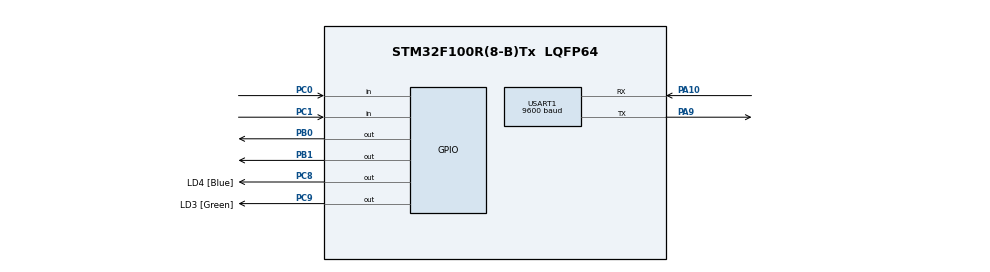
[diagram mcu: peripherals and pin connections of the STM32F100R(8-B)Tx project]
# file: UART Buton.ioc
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Mcu.Family=STM32F1
Mcu.Name=STM32F100R(8-B)Tx
Mcu.Package=LQFP64
NVIC.PriorityGroup=NVIC_PRIORITYGROUP_4
PA0-WKUP.Mode=SYS_WakeUp0
PA0-WKUP.Signal=SYS_WKUP
PA10.Mode=Asynchronous
PA10.Signal=USART1_RX
PA13.GPIO_Label=TMS_SWDIO
PA13.Mode=Serial_Wire
PA13.Signal=SYS_JTMS-SWDIO
PA14.GPIO_Label=TCK_SWCLK
PA14.Mode=Serial_Wire
PA14.Signal=SYS_JTCK-SWCLK
PA9.Mode=Asynchronous
PA9.Signal=USART1_TX
PB0.Signal=GPIO_Output
PB1.Signal=GPIO_Output
PC0.GPIO_PuPd=GPIO_PULLDOWN
PC0.Signal=GPIO_Input
PC1.GPIO_PuPd=GPIO_PULLDOWN
PC1.Signal=GPIO_Input
PC14-OSC32_IN.Mode=LSE-External-Oscillator
PC14-OSC32_IN.Signal=RCC_OSC32_IN
PC15-OSC32_OUT.Mode=LSE-External-Oscillator
PC15-OSC32_OUT.Signal=RCC_OSC32_OUT
PC8.GPIO_Label=LD4 [Blue]
PC8.Signal=GPIO_Output
PC9.GPIO_Label=LD3 [Green]
PC9.Signal=GPIO_Output
PD0-OSC_IN.Mode=HSE-External-Oscillator
PD0-OSC_IN.Signal=RCC_OSC_IN
PD1-OSC_OUT.Mode=HSE-External-Oscillator
PD1-OSC_OUT.Signal=RCC_OSC_OUT
ProjectManager.HeapSize=0x200
ProjectManager.StackSize=0x400
ProjectManager.TargetToolchain=MDK-ARM V5.27
RCC.APB1Freq_Value=8000000
RCC.APB2Freq_Value=8000000
USART1.BaudRate=9600
USART1.VirtualMode=VM_ASYNC
board=STM32VLDISCOVERY

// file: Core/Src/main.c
/* USER CODE BEGIN Header */
/**
  ******************************************************************************
  * @file           : main.c
  * @brief          : Main program body
  ******************************************************************************
  * @attention
  *
  * Copyright (c) 2022 STMicroelectronics.
  * All rights reserved.
  *
  * This software is licensed under terms that can be found in the LICENSE file
  * in the root directory of this software component.
  * If no LICENSE file comes with this software, it is provided AS-IS.
  *
  ******************************************************************************
  */
/* USER CODE END Header */
#include "main.h"

/* USER CODE BEGIN Includes */
#include <stdio.h>
/* USER CODE END Includes */

UART_HandleTypeDef huart1;

/* USER CODE BEGIN PV */
uint16_t ileriButonDurum=0;
uint16_t geriButonDurum=0;
/* USER CODE END PV */

void SystemClock_Config(void);
static void MX_GPIO_Init(void);
static void MX_USART1_UART_Init(void);

int main(void)
{

  /* MCU Configuration--------------------------------------------------------*/

  /* Reset of all peripherals, Initializes the Flash interface and the Systick. */
  HAL_Init();

  /* Configure the system clock */
  SystemClock_Config();

  /* Initialize all configured peripherals */
  MX_GPIO_Init();
  MX_USART1_UART_Init();
  /* USER CODE BEGIN 2 */
	char sendData[2];
	int i=1;
	HAL_GPIO_WritePin(GPIOB,GPIO_PIN_0,GPIO_PIN_SET);
	HAL_GPIO_WritePin(GPIOB,GPIO_PIN_1,GPIO_PIN_SET);
  /* USER CODE END 2 */

  /* Infinite loop */
  while (1)
  {

    /* USER CODE BEGIN 3 */
		ileriButonDurum=HAL_GPIO_ReadPin(GPIOC,GPIO_PIN_0);
		geriButonDurum=HAL_GPIO_ReadPin(GPIOC,GPIO_PIN_1);

		uint16_t len=sprintf(sendData,"%d",i);

		if(HAL_UART_Transmit(&huart1,(uint8_t*)sendData,len,10)!=HAL_OK){
			Error_Handler();
		}
		i++;
		HAL_GPIO_WritePin(GPIOB,GPIO_PIN_0,GPIO_PIN_RESET);
		HAL_GPIO_WritePin(GPIOB,GPIO_PIN_1,GPIO_PIN_SET);

		if(geriButonDurum){
			while(!ileriButonDurum){
				uint16_t len=sprintf(sendData,"%d",i);

				if(HAL_UART_Transmit(&huart1,(uint8_t*)sendData,len,10)!=HAL_OK){
					Error_Handler();
				}
				i--;
				HAL_GPIO_WritePin(GPIOB,GPIO_PIN_0,GPIO_PIN_SET);
				HAL_GPIO_WritePin(GPIOB,GPIO_PIN_1,GPIO_PIN_RESET);
				ileriButonDurum=HAL_GPIO_ReadPin(GPIOC,GPIO_PIN_0);
				HAL_Delay(300);
			}
		}
		HAL_Delay(300);
  }
  /* USER CODE END 3 */
}

void SystemClock_Config(void)
{
  RCC_OscInitTypeDef RCC_OscInitStruct = {0};
  RCC_ClkInitTypeDef RCC_ClkInitStruct = {0};

  /** Initializes the RCC Oscillators according to the specified parameters
  * in the RCC_OscInitTypeDef structure.
  */
  RCC_OscInitStruct.OscillatorType = RCC_OSCILLATORTYPE_HSI;
  RCC_OscInitStruct.HSIState = RCC_HSI_ON;
  RCC_OscInitStruct.HSICalibrationValue = RCC_HSICALIBRATION_DEFAULT;
  RCC_OscInitStruct.PLL.PLLState = RCC_PLL_NONE;
  if (HAL_RCC_OscConfig(&RCC_OscInitStruct) != HAL_OK)
  {
    Error_Handler();
  }
  /** Initializes the CPU, AHB and APB buses clocks
  */
  RCC_ClkInitStruct.ClockType = RCC_CLOCKTYPE_HCLK|RCC_CLOCKTYPE_SYSCLK
                              |RCC_CLOCKTYPE_PCLK1|RCC_CLOCKTYPE_PCLK2;
  RCC_ClkInitStruct.SYSCLKSource = RCC_SYSCLKSOURCE_HSI;
  RCC_ClkInitStruct.AHBCLKDivider = RCC_SYSCLK_DIV1;
  RCC_ClkInitStruct.APB1CLKDivider = RCC_HCLK_DIV1;
  RCC_ClkInitStruct.APB2CLKDivider = RCC_HCLK_DIV1;

  if (HAL_RCC_ClockConfig(&RCC_ClkInitStruct, FLASH_LATENCY_0) != HAL_OK)
  {
    Error_Handler();
  }
}

static void MX_USART1_UART_Init(void)
{

  huart1.Instance = USART1;
  huart1.Init.BaudRate = 9600;
  huart1.Init.WordLength = UART_WORDLENGTH_8B;
  huart1.Init.StopBits = UART_STOPBITS_1;
  huart1.Init.Parity = UART_PARITY_NONE;
  huart1.Init.Mode = UART_MODE_TX_RX;
  huart1.Init.HwFlowCtl = UART_HWCONTROL_NONE;
  huart1.Init.OverSampling = UART_OVERSAMPLING_16;
  if (HAL_UART_Init(&huart1) != HAL_OK)
  {
    Error_Handler();
  }

}

static void MX_GPIO_Init(void)
{
  GPIO_InitTypeDef GPIO_InitStruct = {0};

  /* GPIO Ports Clock Enable */
  __HAL_RCC_GPIOC_CLK_ENABLE();
  __HAL_RCC_GPIOD_CLK_ENABLE();
  __HAL_RCC_GPIOA_CLK_ENABLE();
  __HAL_RCC_GPIOB_CLK_ENABLE();

  /*Configure GPIO pin Output Level */
  HAL_GPIO_WritePin(GPIOB, GPIO_PIN_0|GPIO_PIN_1, GPIO_PIN_RESET);

  /*Configure GPIO pin Output Level */
  HAL_GPIO_WritePin(GPIOC, LD4_Pin|LD3_Pin, GPIO_PIN_RESET);

  /*Configure GPIO pins : PC0 PC1 */
  GPIO_InitStruct.Pin = GPIO_PIN_0|GPIO_PIN_1;
  GPIO_InitStruct.Mode = GPIO_MODE_INPUT;
  GPIO_InitStruct.Pull = GPIO_PULLDOWN;
  HAL_GPIO_Init(GPIOC, &GPIO_InitStruct);

  /*Configure GPIO pins : PB0 PB1 */
  GPIO_InitStruct.Pin = GPIO_PIN_0|GPIO_PIN_1;
  GPIO_InitStruct.Mode = GPIO_MODE_OUTPUT_PP;
  GPIO_InitStruct.Pull = GPIO_NOPULL;
  GPIO_InitStruct.Speed = GPIO_SPEED_FREQ_LOW;
  HAL_GPIO_Init(GPIOB, &GPIO_InitStruct);

  /*Configure GPIO pins : LD4_Pin LD3_Pin */
  GPIO_InitStruct.Pin = LD4_Pin|LD3_Pin;
  GPIO_InitStruct.Mode = GPIO_MODE_OUTPUT_PP;
  GPIO_InitStruct.Pull = GPIO_NOPULL;
  GPIO_InitStruct.Speed = GPIO_SPEED_FREQ_LOW;
  HAL_GPIO_Init(GPIOC, &GPIO_InitStruct);

}

void Error_Handler(void)
{
  __disable_irq();
  while (1)
  {
  }
}
